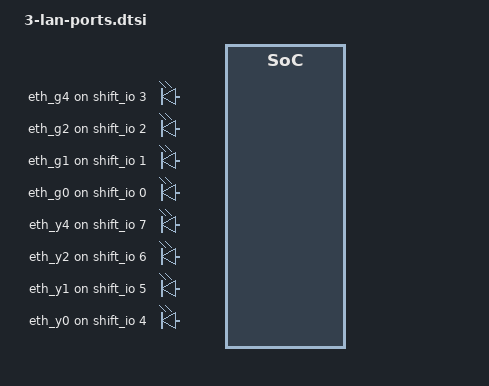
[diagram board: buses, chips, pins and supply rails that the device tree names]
/ {
	leds {
		compatible = "gpio-leds";

		led_eth_g4 {
			label = "eth_g4";
			gpios = <&shift_io 3 GPIO_ACTIVE_HIGH>;
		};

		led_eth_g2 {
			label = "eth_g2";
			gpios = <&shift_io 2 GPIO_ACTIVE_HIGH>;
		};

		led_eth_g1 {
			label = "eth_g1";
			gpios = <&shift_io 1 GPIO_ACTIVE_HIGH>;
		};

		led_eth_g0 {
			label = "eth_g0";
			gpios = <&shift_io 0 GPIO_ACTIVE_HIGH>;
		};

		led_eth_y4 {
			label = "eth_y4";
			gpios = <&shift_io 7 GPIO_ACTIVE_HIGH>;
		};

		led_eth_y2 {
			label = "eth_y2";
			gpios = <&shift_io 6 GPIO_ACTIVE_HIGH>;
		};

		led_eth_y1 {
			label = "eth_y1";
			gpios = <&shift_io 5 GPIO_ACTIVE_HIGH>;
		};

		led_eth_y0 {
			label = "eth_y0";
			gpios = <&shift_io 4 GPIO_ACTIVE_HIGH>;
		};
	};
};

&switch0 {
	ports {
		port@0 {
			status = "okay";
			label = "lan1";
		};

		port@1 {
			status = "okay";
			label = "lan2";
		};

		port@2 {
			status = "okay";
			label = "lan3";
		};
	};
};
